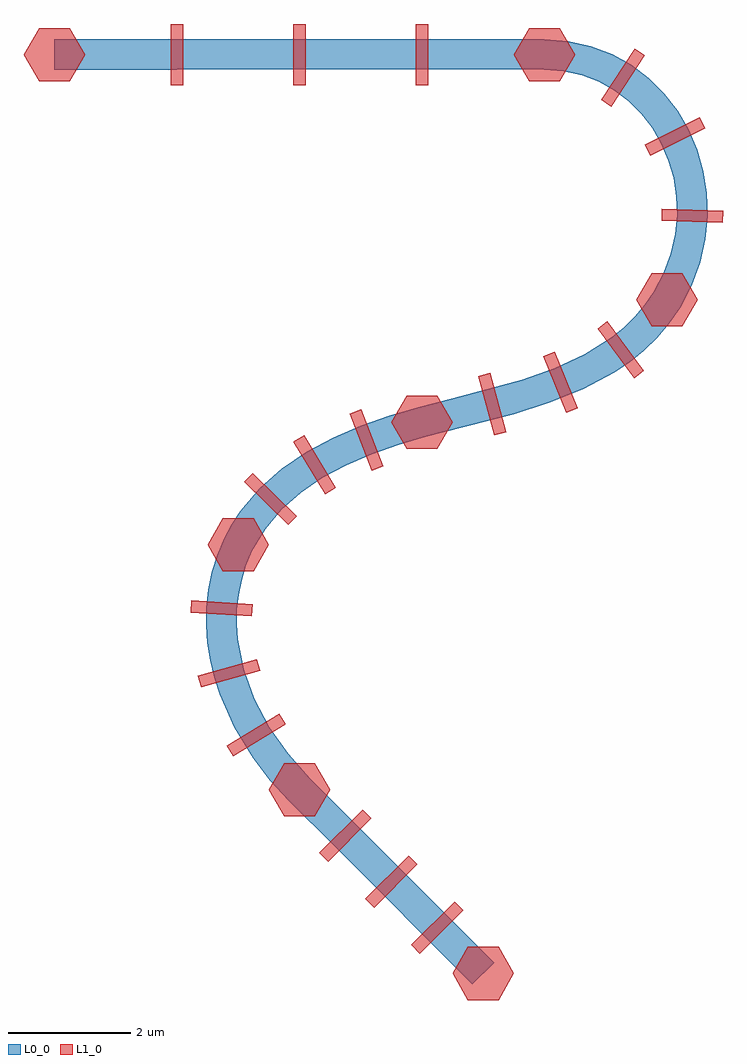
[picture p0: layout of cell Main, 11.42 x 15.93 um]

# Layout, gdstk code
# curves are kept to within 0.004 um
import gdstk
lib = gdstk.Library(unit=1e-6, precision=1e-09)
def R(c, l, rs):  # rectangles x0, y0, x1, y1
    for r in rs: c.add(gdstk.rectangle(r[:2], r[2:], *l))
def A(c, l, x, y, w, h, nx, ny, dx, dy):  # array of equal rectangles
    R(c, l, [(x+i*dx, y+j*dy, x+i*dx+w, y+j*dy+h) for i in range(nx) for j in range(ny)])
def P(c, l, *ps):  # polygons
    for p in ps: c.add(gdstk.Polygon(p, *l))
L0_0 = (0, 0)
L1_0 = (1, 0)

main = lib.new_cell('Main')
P(main, L0_0, [(2,-0.25),(8,-0.25),(8.317,-0.273),(8.614,-0.339),(8.89,-0.444),(9.144,-0.586),(9.374,-0.761),(9.58,-0.965),(9.758,-1.196),(9.906,-1.451),(10.023,-1.724),(10.107,-2.013),(10.154,-2.314),(10.164,-2.623),(10.134,-2.936),(10.063,-3.25),(9.948,-3.563),(9.787,-3.87),(9.639,-4.086),(9.474,-4.281),(9.293,-4.457),(9.096,-4.617),(8.657,-4.891),(8.168,-5.117),(7.638,-5.304),(6.51,-5.611),(5.936,-5.758),(5.466,-5.895),(5.002,-6.057),(4.549,-6.251),(4.117,-6.482),(3.713,-6.757),(3.348,-7.08),(3.032,-7.457),(2.895,-7.667),(2.775,-7.892),(2.657,-8.17),(2.57,-8.453),(2.511,-8.739),(2.48,-9.026),(2.476,-9.314),(2.497,-9.601),(2.542,-9.886),(2.609,-10.167),(2.698,-10.443),(2.935,-10.979),(3.244,-11.487),(3.518,-11.843),(3.823,-12.177),(6.823,-15.177),(7.177,-14.823),(4.177,-11.823),(3.815,-11.417),(3.508,-10.977),(3.264,-10.512),(3.09,-10.031),(2.993,-9.544),(2.976,-9.3),(2.979,-9.057),(3.005,-8.816),(3.054,-8.577),(3.127,-8.341),(3.225,-8.108),(3.439,-7.747),(3.705,-7.43),(4.019,-7.153),(4.374,-6.911),(4.764,-6.702),(5.181,-6.524),(5.617,-6.371),(6.064,-6.242),(7.501,-5.867),(8.073,-5.686),(8.627,-5.464),(9.149,-5.185),(9.393,-5.018),(9.624,-4.832),(9.84,-4.622),(10.037,-4.389),(10.213,-4.13),(10.405,-3.766),(10.542,-3.392),(10.628,-3.015),(10.664,-2.638),(10.652,-2.266),(10.595,-1.904),(10.494,-1.556),(10.353,-1.226),(10.173,-0.917),(9.955,-0.635),(9.703,-0.384),(9.418,-0.168),(9.102,0.009),(8.758,0.14),(8.39,0.222),(8,0.25),(0,0.25),(0,-0.25)])
A(main, L1_0, 1.9, -0.5, 0.2, 1, 3, 1, 2, 0)
P(main, L1_0, [(0.25,-0.433),(0.5,0),(0.25,0.433),(-0.25,0.433),(-0.5,0),(-0.25,-0.433)],
  [(8.25,-0.433),(8.5,0),(8.25,0.433),(7.75,0.433),(7.5,0),(7.75,-0.433)],
  [(8.923,-0.74),(9.091,-0.85),(9.638,-0.013),(9.471,0.096)],
  [(9.638,-1.474),(9.728,-1.652),(10.621,-1.202),(10.531,-1.024)],
  [(9.917,-2.515),(9.911,-2.715),(10.91,-2.746),(10.917,-2.546)],
  [(10.25,-4.433),(10.5,-4),(10.25,-3.567),(9.75,-3.567),(9.5,-4),(9.75,-4.433)],
  [(9.028,-4.356),(8.867,-4.475),(9.462,-5.279),(9.622,-5.16)],
  [(8.168,-4.847),(7.982,-4.922),(8.353,-5.85),(8.539,-5.776)],
  [(7.114,-5.197),(6.92,-5.249),(7.179,-6.215),(7.372,-6.163)],
  [(6.25,-6.433),(6.5,-6),(6.25,-5.567),(5.75,-5.567),(5.5,-6),(5.75,-6.433)],
  [(5.005,-5.788),(4.818,-5.86),(5.178,-6.793),(5.365,-6.721)],
  [(4.074,-6.217),(3.902,-6.32),(4.417,-7.177),(4.589,-7.074)],
  [(3.24,-6.833),(3.1,-6.976),(3.814,-7.676),(3.954,-7.534)],
  [(3.25,-8.433),(3.5,-8),(3.25,-7.567),(2.75,-7.567),(2.5,-8),(2.75,-8.433)],
  [(2.237,-8.911),(2.225,-9.111),(3.223,-9.172),(3.235,-8.972)],
  [(2.341,-10.138),(2.395,-10.331),(3.358,-10.06),(3.304,-9.868)],
  [(2.816,-11.282),(2.92,-11.453),(3.774,-10.932),(3.67,-10.761)],
  [(4.25,-12.433),(4.5,-12),(4.25,-11.567),(3.75,-11.567),(3.5,-12),(3.75,-12.433)],
  [(4.326,-13.033),(4.467,-13.174),(5.174,-12.467),(5.033,-12.326)],
  [(5.076,-13.783),(5.217,-13.924),(5.924,-13.217),(5.783,-13.076)],
  [(5.826,-14.533),(5.967,-14.674),(6.674,-13.967),(6.533,-13.826)],
  [(7.25,-15.433),(7.5,-15),(7.25,-14.567),(6.75,-14.567),(6.5,-15),(6.75,-15.433)])

lib.write_gds('Main.gds')
